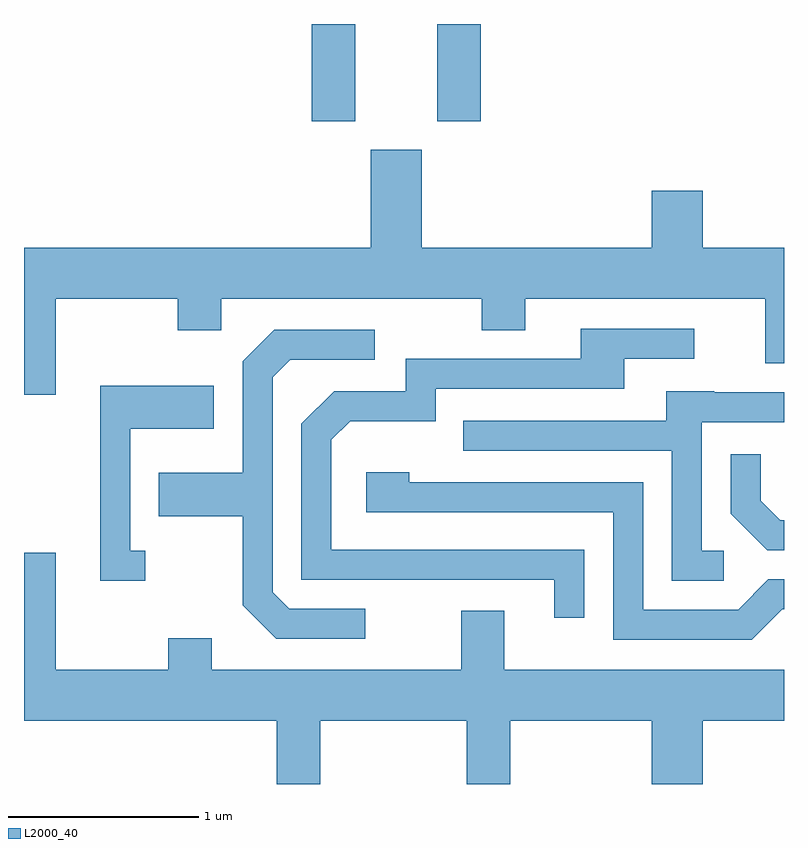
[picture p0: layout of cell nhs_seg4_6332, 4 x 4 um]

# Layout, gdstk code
import gdstk
lib = gdstk.Library(unit=1e-6, precision=1e-09)
def R(c, l, rs):  # rectangles x0, y0, x1, y1
    for r in rs: c.add(gdstk.rectangle(r[:2], r[2:], *l))
def P(c, l, *ps):  # polygons
    for p in ps: c.add(gdstk.Polygon(p, *l))
L2000_40 = (2000, 40)

nhs_seg4_6332 = lib.new_cell('nhs_seg4_6332')
R(nhs_seg4_6332, L2000_40, [(373.126,1273.471,373.354,1273.982), (373.786,1273.471,374.014,1273.982)])
P(nhs_seg4_6332, L2000_40, [(371.779,1272.536),(372.421,1272.536),(372.421,1272.371),(372.649,1272.371),(372.649,1272.536),(374.021,1272.536),(374.021,1272.371),(374.249,1272.371),(374.249,1272.536),(375.511,1272.536),(375.511,1272.196),(375.611,1272.196),(375.611,1272.804),(375.184,1272.804),(375.184,1273.104),(374.916,1273.104),(374.916,1272.804),(373.704,1272.804),(373.704,1273.319),(373.436,1273.319),(373.436,1272.804),(371.611,1272.804),(371.611,1272.031),(371.779,1272.031)],
  [(374.559,1271.214),(373.229,1271.214),(373.229,1271.794),(373.327,1271.891),(373.779,1271.891),(373.779,1272.061),(374.769,1272.061),(374.769,1272.221),(375.138,1272.221),(375.138,1272.379),(374.541,1272.379),(374.541,1272.219),(373.621,1272.219),(373.621,1272.049),(373.244,1272.049),(373.071,1271.877),(373.071,1271.056),(374.401,1271.056),(374.401,1270.858),(374.559,1270.858)],
  [(373.408,1270.904),(373.007,1270.904),(372.919,1270.992),(372.919,1272.124),(373.012,1272.216),(373.458,1272.216),(373.458,1272.374),(372.929,1272.374),(372.761,1272.207),(372.761,1271.619),(372.321,1271.619),(372.321,1271.391),(372.761,1271.391),(372.761,1270.924),(372.939,1270.746),(373.408,1270.746)],
  [(372.248,1271.209),(372.169,1271.209),(372.169,1271.851),(372.609,1271.851),(372.609,1272.079),(372.011,1272.079),(372.011,1271.051),(372.248,1271.051)],
  [(375.293,1271.209),(375.179,1271.209),(375.179,1271.886),(375.611,1271.886),(375.611,1272.044),(375.245,1272.044),(375.245,1272.049),(374.991,1272.049),(374.991,1271.894),(373.923,1271.894),(373.923,1271.736),(375.021,1271.736),(375.021,1271.051),(375.293,1271.051)],
  [(375.611,1271.369),(375.592,1271.369),(375.489,1271.472),(375.489,1271.718),(375.331,1271.718),(375.331,1271.404),(375.524,1271.211),(375.611,1271.211)],
  [(375.602,1270.901),(375.611,1270.901),(375.611,1271.059),(375.529,1271.059),(375.369,1270.899),(374.869,1270.899),(374.869,1271.569),(373.639,1271.569),(373.639,1271.624),(373.411,1271.624),(373.411,1271.411),(374.711,1271.411),(374.711,1270.741),(375.442,1270.741)],
  [(373.169,1270.316),(373.941,1270.316),(373.941,1269.982),(374.169,1269.982),(374.169,1270.316),(374.916,1270.316),(374.916,1269.982),(375.184,1269.982),(375.184,1270.316),(375.611,1270.316),(375.611,1270.584),(374.139,1270.584),(374.139,1270.894),(373.911,1270.894),(373.911,1270.584),(372.599,1270.584),(372.599,1270.749),(372.371,1270.749),(372.371,1270.584),(371.779,1270.584),(371.779,1271.199),(371.611,1271.199),(371.611,1270.316),(372.941,1270.316),(372.941,1269.982),(373.169,1269.982)])

lib.write_gds('nhs_seg4_6332.gds')
